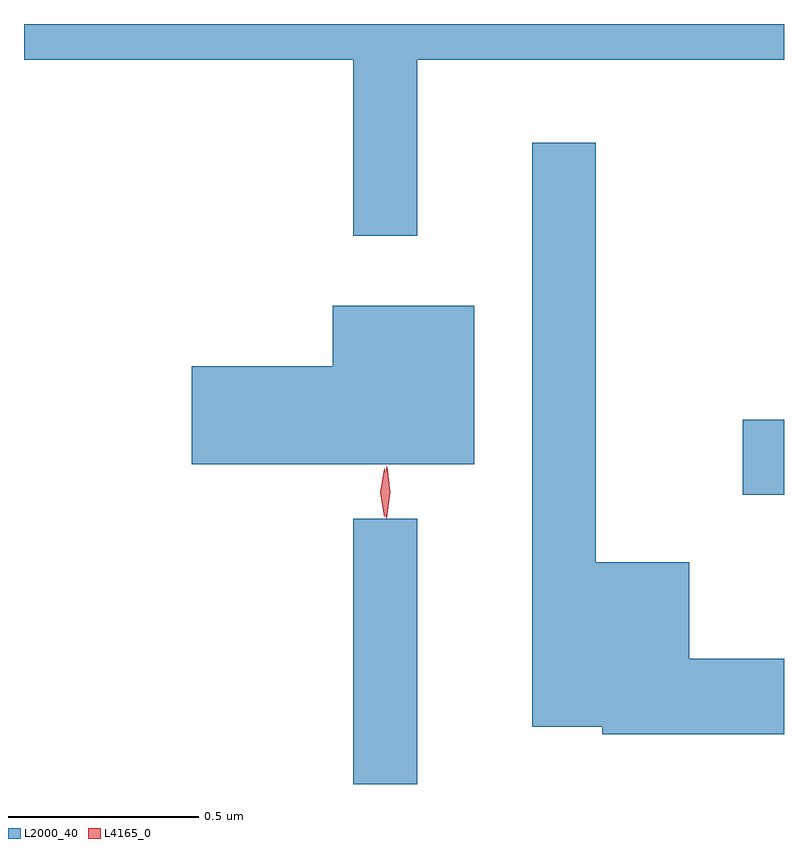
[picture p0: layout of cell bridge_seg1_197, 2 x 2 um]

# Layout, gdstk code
import gdstk
lib = gdstk.Library(unit=1e-6, precision=1e-09)
def R(c, l, rs):  # rectangles x0, y0, x1, y1
    for r in rs: c.add(gdstk.rectangle(r[:2], r[2:], *l))
def P(c, l, *ps):  # polygons
    for p in ps: c.add(gdstk.Polygon(p, *l))
L2000_40 = (2000, 40)
L4165_0 = (4165, 0)

bridge_seg1_197 = lib.new_cell('bridge_seg1_197')
R(bridge_seg1_197, L2000_40, [(688.951,973.15,689.119,973.848), (689.976,973.911,690.084,974.109)])
P(bridge_seg1_197, L2000_40, [(689.119,975.056),(690.084,975.056),(690.084,975.15),(688.084,975.15),(688.084,975.056),(688.951,975.056),(688.951,974.593),(689.119,974.593)],
  [(690.084,973.479),(689.834,973.479),(689.834,973.734),(689.589,973.734),(689.589,974.838),(689.421,974.838),(689.421,973.301),(689.606,973.301),(689.606,973.281),(690.084,973.281)],
  [(689.269,974.409),(688.896,974.409),(688.896,974.249),(688.526,974.249),(688.526,973.991),(689.269,973.991)])
P(bridge_seg1_197, L4165_0, [(689.032,973.853),(689.032,973.854),(689.022,973.916),(689.032,973.979),(689.032,973.98),(689.033,973.979),(689.042,973.916),(689.033,973.854)],
  [(689.037,973.85),(689.028,973.918),(689.039,973.985),(689.039,973.986),(689.04,973.985),(689.048,973.918),(689.038,973.85),(689.038,973.85)])

lib.write_gds('bridge_seg1_197.gds')
